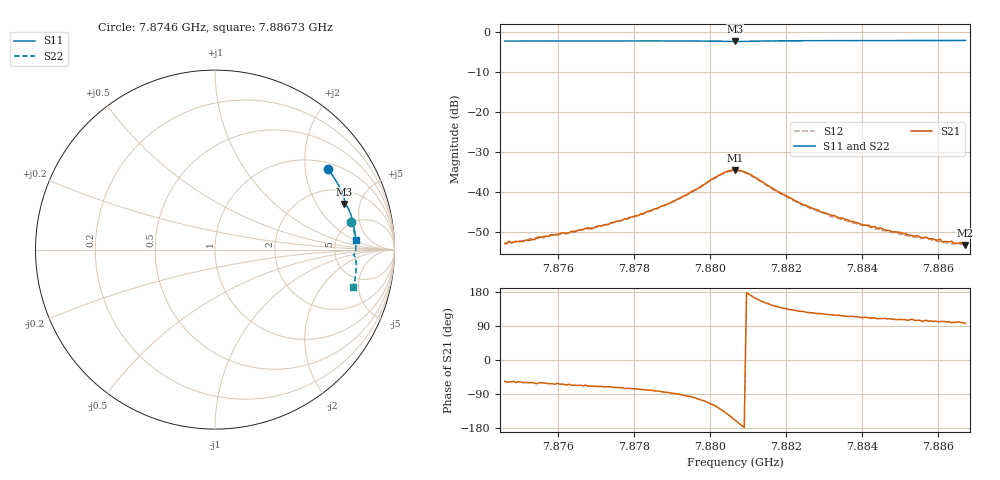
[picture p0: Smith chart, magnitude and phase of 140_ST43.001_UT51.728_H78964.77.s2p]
#  HZ  S  DB  R  50.00
! Rohde & Schwarz Vector Network Analyzer
! Rohde-Schwarz,ZNB20-2Port,1311601062101988,3.16
! Created: UTC 1/12/2023, 6:39:42 PM
! freq[Hz]  db:S11  ang:S11  db:S21  ang:S21  db:S12  ang:S12  db:S22  ang:S22
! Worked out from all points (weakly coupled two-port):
!   201 points, 7.8746 GHz to 7.88673 GHz, reference 50 ohm
!   highest |S21| = -34.43 dB at 7.88067 GHz (marker M1); lowest = -53.2 dB at 7.88673 GHz (marker M2)
!   lowest |S11| = -2.3 dB at 7.88067 GHz (marker M3), VSWR 7.45, Z = 146 + j178 ohm
!   |S11| at or under -10 dB: nowhere
!   |S22| runs from -2.3 to -2.0 dB; largest |S21 - S12| = 0.0012
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7.8746e9  -2.25 35.5  -52.81 -56.4  -52.98 -60.2  -2.20 11.5
7.874722e9  -2.25 35.2  -52.27 -57.7  -52.30 -61.8  -2.19 11.2
7.874782e9  -2.25 35.0  -52.71 -57.7  -52.54 -60.5  -2.19 11.0
7.875571e9  -2.23 32.8  -51.25 -60.3  -51.03 -65.0  -2.17 9.1
7.875631e9  -2.23 32.7  -51.08 -60.3  -51.53 -62.4  -2.17 9.0
7.875692e9  -2.22 32.5  -51.01 -61.7  -51.01 -65.0  -2.17 8.9
7.876663e9  -2.21 29.9  -49.34 -68.9  -49.31 -69.7  -2.14 6.6
7.876905e9  -2.21 29.2  -49.17 -69.1  -48.80 -71.3  -2.14 6.0
7.877936e9  -2.20 26.4  -46.21 -75.1  -46.49 -78.8  -2.12 3.6
7.878664e9  -2.19 24.3  -43.82 -82.4  -43.89 -86.0  -2.10 1.9
7.879149e9  -2.20 23.0  -41.76 -89.5  -42.01 -92.9  -2.11 0.7
7.880302e9  -2.31 19.9  -35.52 -130.8  -35.64 -134.3  -2.21 -2.0
7.880666e9  -2.35 19.5  -34.43 -158.5  -34.63 -161.9  -2.25 -2.2
7.88109e9  -2.29 18.9  -35.68 169.8  -35.91 166.3  -2.19 -2.5
7.881939e9  -2.18 16.7  -40.58 136.7  -40.90 133.2  -2.08 -4.3
7.882728e9  -2.14 14.5  -44.15 124.5  -44.27 120.5  -2.03 -6.2
7.883213e9  -2.13 13.2  -45.84 119.6  -46.19 114.6  -2.01 -7.4
7.884002e9  -2.12 11.1  -48.16 112.0  -48.34 108.5  -1.99 -9.1
7.884729e9  -2.11 9.2  -49.57 109.6  -50.09 105.3  -1.98 -10.7
7.886124e9  -2.09 5.5  -52.44 102.0  -52.61 97.5  -1.96 -13.8
7.88661e9  -2.09 4.3  -52.59 99.1  -53.00 96.3  -1.96 -14.9
7.886731e9  -2.09 3.9  -53.18 96.8  -53.50 97.0  -1.96 -15.1
